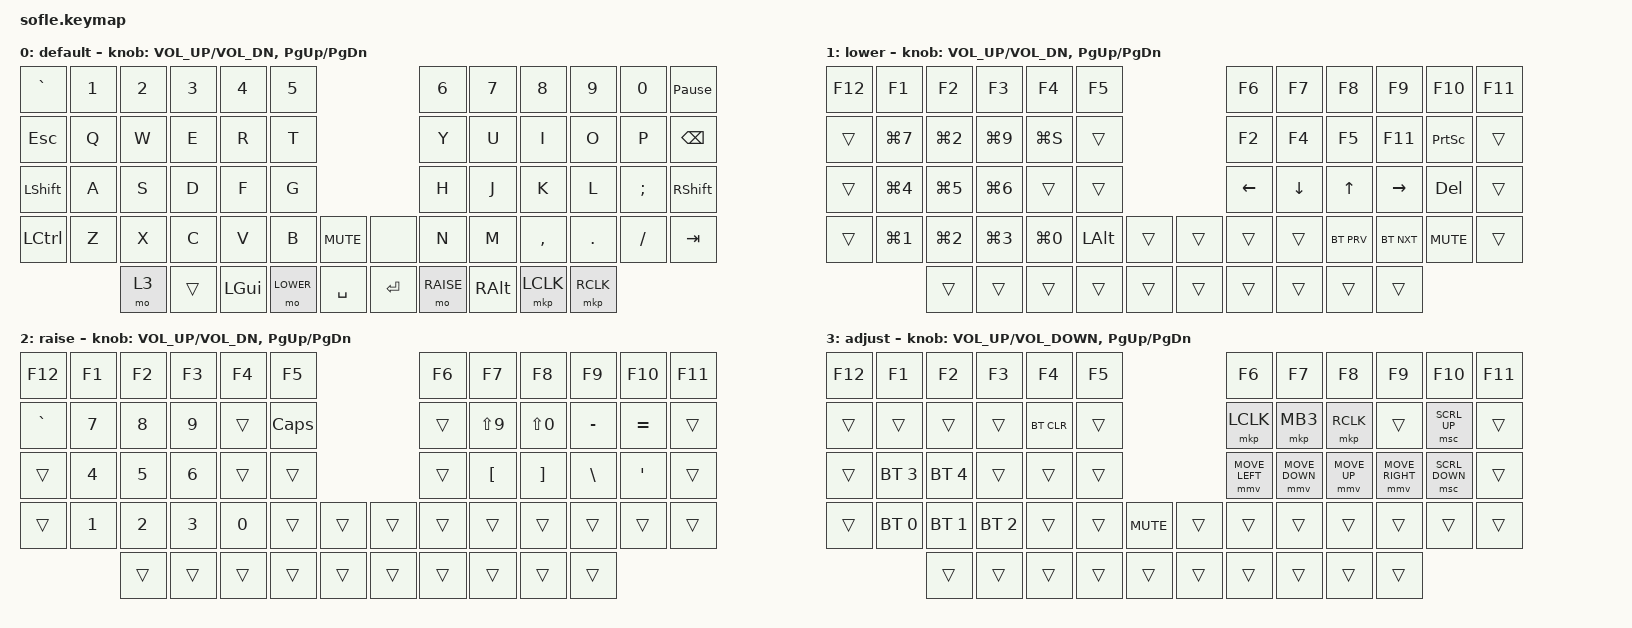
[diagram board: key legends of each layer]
/*
 * Copyright (c) 2020 The ZMK Contributors
 *
 * SPDX-License-Identifier: MIT
 */

#include <behaviors.dtsi>
#include <dt-bindings/zmk/bt.h>
#include <dt-bindings/zmk/keys.h>
#include <dt-bindings/zmk/pointing.h>

#define BASE 0
#define LOWER 1
#define RAISE 2
#define ADJUST 3

/ {
    // Activate ADJUST layer by pressing raise and lower

    conditional_layers {
        compatible = "zmk,conditional-layers";

        adjust_layer {
            if-layers = <LOWER RAISE>;
            then-layer = <ADJUST>;
        };
    };

    keymap {
        compatible = "zmk,keymap";

        default_layer {
            label = "default";

            // ------------------------------------------------------------------------------------------------------------
            // |   `   |  1  |  2  |  3   |  4   |  5   |                   |  6   |  7    |  8    |  9   |   0   |       |
            // |  ESC  |  Q  |  W  |  E   |  R   |  T   |                   |  Y   |  U    |  I    |  O   |   P   | BKSPC |
            // |  TAB  |  A  |  S  |  D   |  F   |  G   |                   |  H   |  J    |  K    |  L   |   ;   |   '   |
            // | SHIFT |  Z  |  X  |  C   |  V   |  B   |  MUTE  |  |       |  N   |  M    |  ,    |  .   |   /   | SHIFT |
            //               | GUI | ALT  | CTRL | LOWER|  ENTER |  | SPACE | RAISE| CTRL  | ALT   | GUI  |

            bindings = <
&kp GRAVE       &kp N1  &kp N2  &kp N3  &kp N4        &kp N5                              &kp N6     &kp N7         &kp N8     &kp N9     &kp N0    &kp PAUSE_BREAK
&kp ESCAPE      &kp Q   &kp W   &kp E   &kp R         &kp T                               &kp Y      &kp U          &kp I      &kp O      &kp P     &kp BSPC
&kp LEFT_SHIFT  &kp A   &kp S   &kp D   &kp F         &kp G                               &kp H      &kp J          &kp K      &kp L      &kp SEMI  &kp RIGHT_SHIFT
&kp LCTRL       &kp Z   &kp X   &kp C   &kp V         &kp B      &kp C_MUTE    &none      &kp N      &kp M          &kp COMMA  &kp DOT    &kp FSLH  &kp TAB
                        &mo 3   &trans  &kp LEFT_GUI  &mo LOWER  &kp SPACE     &kp ENTER  &mo RAISE  &kp RIGHT_ALT  &mkp LCLK  &mkp RCLK
            >;

            sensor-bindings = <&inc_dec_kp C_VOL_UP C_VOL_DN &inc_dec_kp PG_UP PG_DN>;
        };

        Navigate {
            label = "lower";

            // TODO: Some binds are waiting for shifted keycode support.
            // ------------------------------------------------------------------------------------------------------------
            // |       |  F1 |  F2 |  F3  |  F4  |  F5  |                   |  F6  |  F7   |  F8   |  F9  |  F10  |  F11  |
            // |   `   |  1  |  2  |  3   |  4   |  5   |                   |  6   |  7    |  8    |  9   |   0   |  F12  |
            // |       |  !  |  @  |  #   |  $   |  %   |                   |  ^   |  &    |  *    |  (   |   )   |   |   |
            // |       |  =  |  -  |  +   |  {   |  }   |        |  |       |  [   |  ]    |  ;    |  :   |   \   |       |
            //               |     |      |      |      |        |  |       |      |       |       |      |

            bindings = <
&kp F12  &kp F1      &kp F2      &kp F3      &kp F4      &kp F5                          &kp F6    &kp F7    &kp F8      &kp F9      &kp F10          &kp F11
&trans   &kp LG(N7)  &kp LG(N2)  &kp LG(N9)  &kp LG(S)   &trans                          &kp F2    &kp F4    &kp F5      &kp F11     &kp PRINTSCREEN  &trans
&trans   &kp LG(N4)  &kp LG(N5)  &kp LG(N6)  &trans      &trans                          &kp LEFT  &kp DOWN  &kp UP      &kp RIGHT   &kp DELETE       &trans
&trans   &kp LG(N1)  &kp LG(N2)  &kp LG(N3)  &kp LG(N0)  &kp LEFT_ALT  &trans    &trans  &trans    &trans    &bt BT_PRV  &bt BT_NXT  &kp C_MUTE       &trans
                     &trans      &trans      &trans      &trans        &trans    &trans  &trans    &trans    &trans      &trans
            >;

            sensor-bindings = <&inc_dec_kp C_VOL_UP C_VOL_DN &inc_dec_kp PG_UP PG_DN>;
        };

        Extras {
            label = "raise";

            // ------------------------------------------------------------------------------------------------------------
            // | BTCLR | BT1  | BT2  |  BT3  |  BT4  |  BT5 |                |      |      |       |      |       |       |
            // |       | INS  | PSCR | GUI   |       |      |                | PGUP |      |   ^   |      |       |       |
            // |       | ALT  | CTRL | SHIFT |       | CAPS |                | PGDN |   <- |   v   |  ->  |  DEL  | BKSPC |
            // |       | UNDO | CUT  | COPY  | PASTE |      |      |  |      |      |      |       |      |       |       |
            //                |      |       |       |      |      |  |      |      |      |       |      |

            bindings = <
&kp F12    &kp F1  &kp F2  &kp F3  &kp F4  &kp F5                      &kp F6  &kp F7            &kp F8             &kp F9         &kp F10    &kp F11
&kp GRAVE  &kp N7  &kp N8  &kp N9  &trans  &kp CAPS                    &trans  &kp LS(N9)        &kp LS(N0)         &kp MINUS      &kp EQUAL  &trans
&trans     &kp N4  &kp N5  &kp N6  &trans  &trans                      &trans  &kp LEFT_BRACKET  &kp RIGHT_BRACKET  &kp BACKSLASH  &kp SQT    &trans
&trans     &kp N1  &kp N2  &kp N3  &kp N0  &trans    &trans    &trans  &trans  &trans            &trans             &trans         &trans     &trans
                   &trans  &trans  &trans  &trans    &trans    &trans  &trans  &trans            &trans             &trans
            >;

            sensor-bindings = <&inc_dec_kp C_VOL_UP C_VOL_DN &inc_dec_kp PG_UP PG_DN>;
        };

        Mouse {
            // ----------------------------------------------------------------------------------------------------------------------------
            // | BTCLR  |  BT1    |  BT2    |   BT3   |   BT4   |   BT5   |                  |      |      |       |      |       |       |
            // | EXTPWR | RGB_HUD | RGB_HUI | RGB_SAD | RGB_SAI | RGB_EFF |                  |      |      |       |      |       |       |
            // |        | RGB_BRD | RGB_BRI |         |         |         |                  |      |      |       |      |       |       |
            // |        |         |         |         |         |         | RGB_TOG | |      |      |      |       |      |       |       |
            //                    |         |         |         |         |         | |      |      |      |       |      |

            label = "adjust";
            bindings = <
&kp F12  &kp F1        &kp F2        &kp F3        &kp F4      &kp F5                        &kp F6          &kp F7          &kp F8        &kp F9           &kp F10         &kp F11
&trans   &trans        &trans        &trans        &bt BT_CLR  &trans                        &mkp LCLK       &mkp MB3        &mkp RCLK     &trans           &msc SCRL_UP    &trans
&trans   &bt BT_SEL 3  &bt BT_SEL 4  &trans        &trans      &trans                        &mmv MOVE_LEFT  &mmv MOVE_DOWN  &mmv MOVE_UP  &mmv MOVE_RIGHT  &msc SCRL_DOWN  &trans
&trans   &bt BT_SEL 0  &bt BT_SEL 1  &bt BT_SEL 2  &trans      &trans  &kp C_MUTE    &trans  &trans          &trans          &trans        &trans           &trans          &trans
                       &trans        &trans        &trans      &trans  &trans        &trans  &trans          &trans          &trans        &trans
            >;

            sensor-bindings =
                <&inc_dec_kp C_VOLUME_UP C_VOLUME_DOWN>,
                <&inc_dec_kp PAGE_UP PAGE_DOWN>;
        };
    };
};
